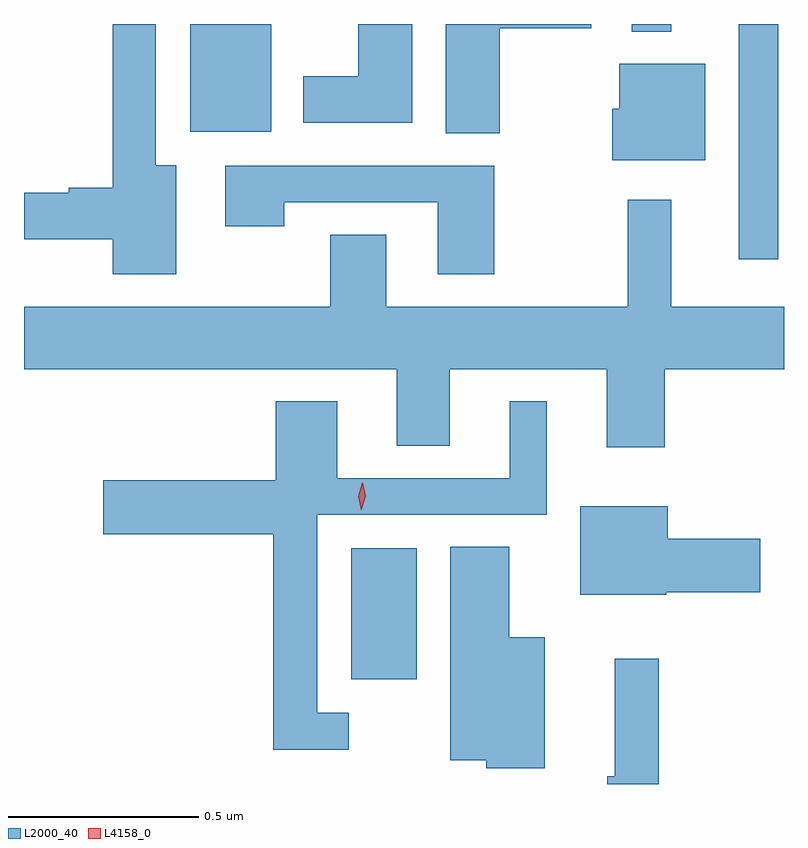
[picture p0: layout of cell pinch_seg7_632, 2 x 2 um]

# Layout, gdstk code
import gdstk
lib = gdstk.Library(unit=1e-6, precision=1e-09)
def R(c, l, rs):  # rectangles x0, y0, x1, y1
    for r in rs: c.add(gdstk.rectangle(r[:2], r[2:], *l))
def P(c, l, *ps):  # polygons
    for p in ps: c.add(gdstk.Polygon(p, *l))
L2000_40 = (2000, 40)
L4158_0 = (4158, 0)

pinch_seg7_632 = lib.new_cell('pinch_seg7_632')
R(pinch_seg7_632, L2000_40, [(145.343,1023.776,145.516,1024.12), (146.363,1024.881,146.467,1025.5), (144.92,1025.216,145.132,1025.5), (146.081,1025.48,146.185,1025.5)])
P(pinch_seg7_632, L2000_40, [(145.504,1025.5),(145.361,1025.5),(145.361,1025.362),(145.217,1025.362),(145.217,1025.24),(145.504,1025.24)],
  [(144.883,1025.128),(144.829,1025.128),(144.829,1025.5),(144.716,1025.5),(144.716,1025.069),(144.6,1025.069),(144.6,1025.056),(144.482,1025.056),(144.482,1024.934),(144.716,1024.934),(144.716,1024.842),(144.883,1024.842)],
  [(145.734,1025.489),(145.975,1025.489),(145.975,1025.5),(145.592,1025.5),(145.592,1025.212),(145.734,1025.212)],
  [(146.275,1025.395),(146.048,1025.395),(146.048,1025.277),(146.03,1025.277),(146.03,1025.141),(146.275,1025.141)],
  [(145.719,1025.127),(145.011,1025.127),(145.011,1024.968),(145.167,1024.968),(145.167,1025.031),(145.571,1025.031),(145.571,1024.842),(145.719,1024.842)],
  [(145.435,1024.946),(145.288,1024.946),(145.288,1024.756),(144.482,1024.756),(144.482,1024.592),(145.463,1024.592),(145.463,1024.39),(145.603,1024.39),(145.603,1024.592),(146.015,1024.592),(146.015,1024.386),(146.168,1024.386),(146.168,1024.592),(146.482,1024.592),(146.482,1024.756),(146.185,1024.756),(146.185,1025.038),(146.071,1025.038),(146.071,1024.756),(145.435,1024.756)],
  [(145.336,1023.687),(145.254,1023.687),(145.254,1024.209),(145.858,1024.209),(145.858,1024.507),(145.76,1024.507),(145.76,1024.305),(145.306,1024.305),(145.306,1024.507),(145.145,1024.507),(145.145,1024.299),(144.69,1024.299),(144.69,1024.157),(145.138,1024.157),(145.138,1023.59),(145.336,1023.59)],
  [(146.172,1024.004),(146.419,1024.004),(146.419,1024.146),(146.176,1024.146),(146.176,1024.231),(145.946,1024.231),(145.946,1023.998),(146.172,1023.998)],
  [(145.852,1023.886),(145.759,1023.886),(145.759,1024.124),(145.604,1024.124),(145.604,1023.563),(145.698,1023.563),(145.698,1023.542),(145.852,1023.542)],
  [(146.153,1023.829),(146.036,1023.829),(146.036,1023.52),(146.017,1023.52),(146.017,1023.5),(146.153,1023.5)])
P(pinch_seg7_632, L4158_0, [(145.369,1024.221),(145.361,1024.257),(145.372,1024.293),(145.373,1024.293),(145.373,1024.293),(145.381,1024.257),(145.37,1024.221),(145.37,1024.221)])

lib.write_gds('pinch_seg7_632.gds')
